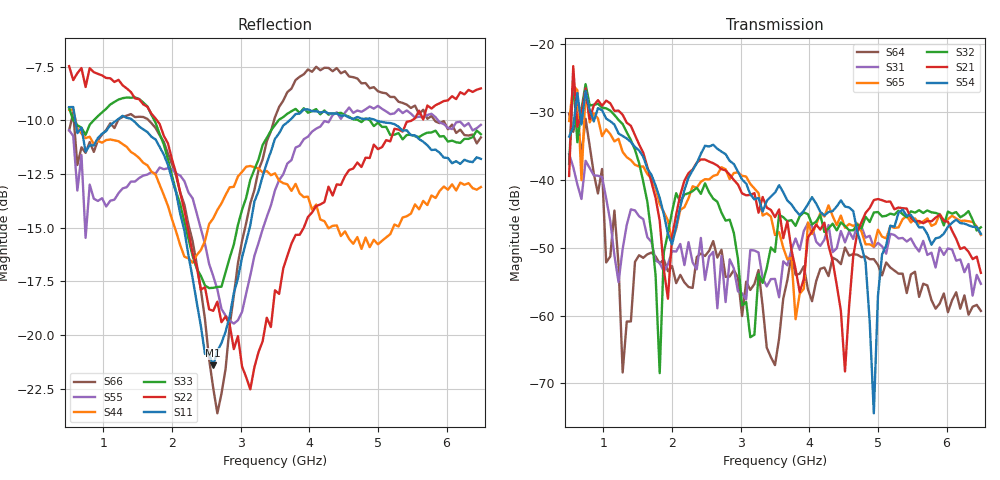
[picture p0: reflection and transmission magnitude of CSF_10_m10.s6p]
!Keysight Technologies,M9804A,MY58100912,A.14.10.03
!Date: Thursday, April 27, 2023 10:28:33
!Correction: S11(C  6-Port  )
!S12(C  6-Port  )
!S13(C  6-Port  )
!S14(C  6-Port  )
!S15(C  6-Port  )
!S16(C  6-Port  )
!S21(C  6-Port  )
!S22(C  6-Port  )
!S23(C  6-Port  )
!S24(C  6-Port  )
!S25(C  6-Port  )
!S26(C  6-Port  )
!S31(C  6-Port  )
!S32(C  6-Port  )
!S33(C  6-Port  )
!S34(C  6-Port  )
!S35(C  6-Port  )
!S36(C  6-Port  )
!S41(C  6-Port  )
!S42(C  6-Port  )
!S43(C  6-Port  )
!S44(C  6-Port  )
!S45(C  6-Port  )
!S46(C  6-Port  )
!S51(C  6-Port  )
!S52(C  6-Port  )
!S53(C  6-Port  )
!S54(C  6-Port  )
!S55(C  6-Port  )
!S56(C  6-Port  )
!S61(C  6-Port  )
!S62(C  6-Port  )
!S63(C  6-Port  )
!S64(C  6-Port  )
!S65(C  6-Port  )
!S66(C  6-Port  )
!S6P File: Measurement: :
# Hz S  RI  R 50
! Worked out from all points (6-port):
!   101 points, 500 MHz to 6.5 GHz, reference 50 ohm
!   strongest paths, dB at 500 MHz, 2 GHz, 3.5 GHz, 5 GHz, 6.5 GHz:
!     S54: -33.7, -49.5, -41.9, -57.1, -48.0
!     S21: -39.5, -48.4, -45.5, -42.9, -53.7
!     S32: -37.7, -44.7, -50.7, -44.8, -47.0
!     S65: -31.4, -49.0, -48.2, -47.4, -48.1
!     S31: -36.3, -50.5, -54.6, -49.3, -55.3
!     S64: -30.3, -52.7, -67.3, -52.5, -59.3
!   lowest |S11| = -21.4 dB at 2.6 GHz (marker M1), VSWR 1.19, Z = 42.5 + j2.2 ohm
!   |S11| at or under -10 dB: 590.4 MHz to 1.193 GHz (602.5 MHz wide, 67.6 % of centre); 1.426 GHz to 3.714 GHz (2.288 GHz wide, 89 % of centre); 4.968 GHz to end of sweep
